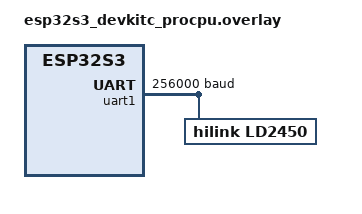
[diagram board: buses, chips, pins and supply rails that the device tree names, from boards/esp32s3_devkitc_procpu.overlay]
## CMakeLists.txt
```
# SPDX-License-Identifier: Apache-2.0

cmake_minimum_required(VERSION 3.20.0)

find_package(Zephyr REQUIRED HINTS $ENV{ZEPHYR_BASE})
project(ld2450)

target_sources(app PRIVATE src/main.c)
```

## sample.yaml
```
sample:
  name: LD2450 multi-target radar sample
common:
  tags: sensors
  platform_allow: esp32s3_devkitc/esp32s3/procpu
  integration_platforms:
    - esp32s3_devkitc/esp32s3/procpu
  filter: dt_compat_enabled("hilink,ld2450")
tests:
  sample.sensor.ld2450.build:
    build_only: true
  sample.sensor.ld2450:
    harness: console
    harness_config:
      fixture: fixture_ld2450
      type: one_line
      regex:
        - "targets: [0-3]"
```

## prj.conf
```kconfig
CONFIG_SENSOR=y
CONFIG_SERIAL=y
CONFIG_UART_INTERRUPT_DRIVEN=y
```

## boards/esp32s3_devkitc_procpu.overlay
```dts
/*
 * SPDX-License-Identifier: Apache-2.0
 *
 * LD2450 on UART1: sensor TX -> GPIO18 (RX), sensor RX -> GPIO17 (TX).
 */

&uart1 {
	status = "okay";
	current-speed = <256000>;
	pinctrl-0 = <&uart1_default>;
	pinctrl-names = "default";

	ld2450: ld2450 {
		compatible = "hilink,ld2450";
		status = "okay";
	};
};
```

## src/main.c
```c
/*
 * SPDX-FileCopyrightText: Copyright The Zephyr Project Contributors
 * SPDX-License-Identifier: Apache-2.0
 */

#include <stdio.h>
#include <zephyr/device.h>
#include <zephyr/drivers/sensor.h>
#include <zephyr/drivers/sensor/ld2450.h>
#include <zephyr/kernel.h>

static const struct device *const radar = DEVICE_DT_GET_ONE(hilink_ld2450);

static int get_mm(enum sensor_channel chan, int *mm)
{
	struct sensor_value val;
	int rc = sensor_channel_get(radar, chan, &val);

	if (rc == 0) {
		*mm = (int)sensor_value_to_milli(&val);
	}
	return rc;
}

static void print_target(int index)
{
	int x;
	int y;
	int speed;

	if ((get_mm(SENSOR_CHAN_LD2450_TARGET_X(index), &x) != 0) ||
	    (get_mm(SENSOR_CHAN_LD2450_TARGET_Y(index), &y) != 0) ||
	    (get_mm(SENSOR_CHAN_LD2450_TARGET_SPEED(index), &speed) != 0)) {
		return;
	}

	printf("  target %d: x=%d mm  y=%d mm  speed=%d mm/s\n", index + 1, x, y, speed);
}

int main(void)
{
	struct sensor_value count;
	int nearest;
	int rc;

	if (!device_is_ready(radar)) {
		printf("LD2450 device %s is not ready\n", radar->name);
		return 0;
	}

	while (1) {
		rc = sensor_sample_fetch(radar);
		if (rc != 0) {
			printf("sample fetch failed: %d\n", rc);
			k_sleep(K_MSEC(500));
			continue;
		}

		sensor_channel_get(radar, (enum sensor_channel)SENSOR_CHAN_LD2450_TARGET_COUNT, &count);
		printf("targets: %d\n", count.val1);

		if (get_mm(SENSOR_CHAN_DISTANCE, &nearest) == 0) {
			printf("  nearest: %d mm\n", nearest);
		}

		for (int i = 0; i < LD2450_TARGET_COUNT_MAX; i++) {
			print_target(i);
		}

		k_sleep(K_MSEC(500));
	}

	return 0;
}
```
